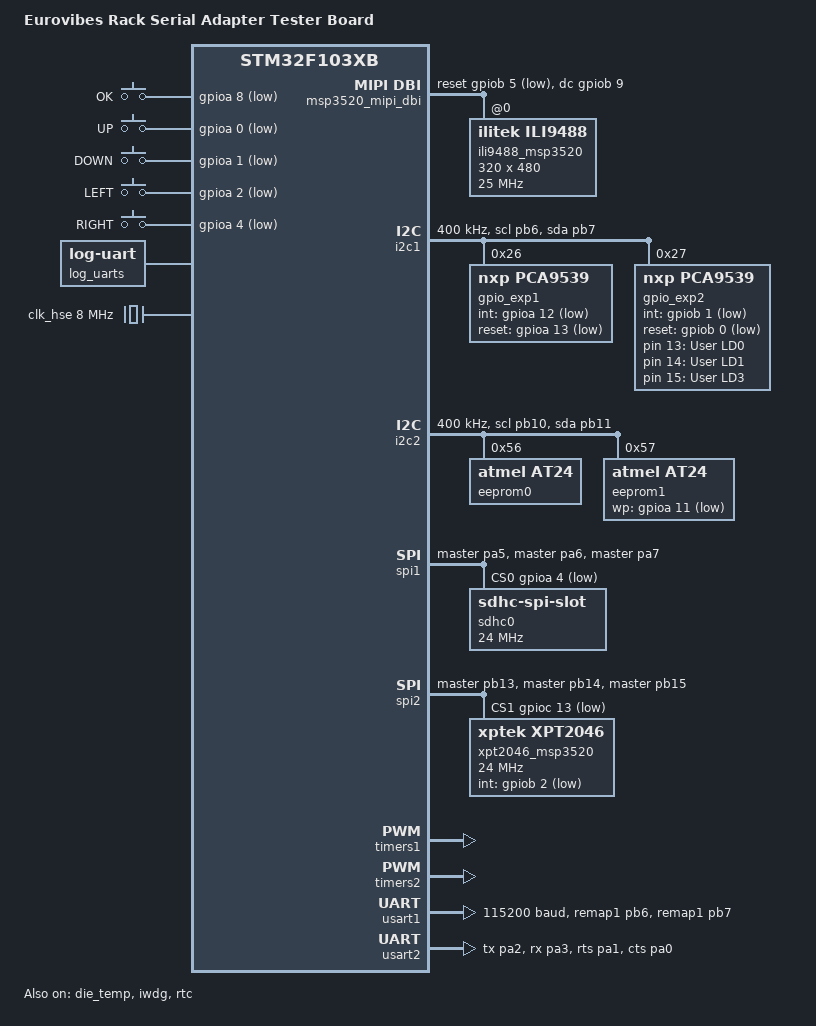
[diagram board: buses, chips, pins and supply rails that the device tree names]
/*
 * Copyright (c) 2026 Benedikt Spranger
 *
 * SPDX-License-Identifier: Apache-2.0
 */

/dts-v1/;
#include <st/f1/stm32f103Xb.dtsi>
#include <st/f1/stm32f103r(8-b)tx-pinctrl.dtsi>
#include <zephyr/dt-bindings/input/input-event-codes.h>
#include <zephyr/dt-bindings/display/panel.h>

/ {
	aliases {
		led0 = &user_led_0;
                led1 = &user_led_1;
		led2 = &user_led_2;
		sw0 = &ok_button;
		watchdog0 = &iwdg;
		die-temp0 = &die_temp;
	};

	model = "Eurovibes Rack Serial Adapter Tester Board";
	compatible = "eurovibes,rack-ser-adapter-tester";

	chosen {
		zephyr,console = &usart1;
		zephyr,log-uart = &log_uarts;
		zephyr,shell-uart = &usart1;
		zephyr,sram = &sram0;
		zephyr,flash = &flash0;
		zephyr,code-partition = &slot0_partition;
		zephyr,display = &ili9488_msp3520;
                zephyr,touch = &xpt2046_msp3520;
	};

	gpio_keys {
		compatible = "gpio-keys";

		ok_button: button0 {
			label = "OK";
			gpios = <&gpioa 8 GPIO_ACTIVE_LOW>;
			zephyr,code = <INPUT_KEY_0>;
		};

		up_button: button1 {
			label = "UP";
			gpios = <&gpioa 0 GPIO_ACTIVE_LOW>;
			zephyr,code = <INPUT_KEY_1>;
		};

		down_button: button2 {
			label = "DOWN";
			gpios = <&gpioa 1 GPIO_ACTIVE_LOW>;
			zephyr,code = <INPUT_KEY_2>;
		};

		left_button: button3 {
			label = "LEFT";
			gpios = <&gpioa 2 GPIO_ACTIVE_LOW>;
			zephyr,code = <INPUT_KEY_3>;
		};

		right_button: button4 {
			label = "RIGHT";
			gpios = <&gpioa 4 GPIO_ACTIVE_LOW>;
			zephyr,code = <INPUT_KEY_4>;
		};
	};

	leds: leds {
                compatible = "gpio-leds";

                user_led_0: led_0 {
                        gpios = <&gpio_exp2 13 GPIO_ACTIVE_HIGH>;
                        label = "User LD0";
                };

                user_led_1: led_1 {
                        gpios = <&gpio_exp2 14 GPIO_ACTIVE_HIGH>;
                        label = "User LD1";
                };

		user_led_2: led_2 {
                        gpios = <&gpio_exp2 15 GPIO_ACTIVE_HIGH>;
                        label = "User LD3";
                };
        };

	msp3520_mipi_dbi {
		compatible = "zephyr,mipi-dbi-spi";
                dc-gpios = <&gpiob 9 GPIO_ACTIVE_HIGH>;
                reset-gpios = <&gpiob 5 GPIO_ACTIVE_LOW>;
                spi-dev = <&spi2>;
                write-only;
                #address-cells = <1>;
                #size-cells = <0>;

		ili9488_msp3520: ili9488@0 {
			compatible = "ilitek,ili9488";
			mipi-max-frequency = <25000000>;
			reg = <0>;
			pixel-format = <PANEL_PIXEL_FORMAT_RGB_888>;
			width = <320>;
			height = <480>;
			rotation = <0>;
		};
	};

	log_uarts: log_uarts {
		compatible = "zephyr,log-uart";
		uarts = <&usart1>;
	};
};

&clk_hse {
	clock-frequency = <DT_FREQ_M(8)>;
	status = "okay";
};

&clk_lsi {
	status = "okay";
};

&die_temp {
	status = "okay";
};

&flash0 {
	partitions {
		#address-cells = <1>;
		#size-cells = <1>;
		ranges;

		boot_partition: partition@0 {
			compatible = "zephyr,mapped-partition";
			label = "mcuboot";
			reg = <0x00000000 DT_SIZE_K(34)>;
		};

		slot0_partition: partition@8800 {
			compatible = "zephyr,mapped-partition";
			label = "image-0";
			reg = <0x00008800 DT_SIZE_K(45)>;
		};

		slot1_partition: partition@13c00 {
			compatible = "zephyr,mapped-partition";
			label = "image-1";
			reg = <0x00013c00 DT_SIZE_K(46)>;
		};

		storage_partition: partition@1f400 {
			compatible = "zephyr,mapped-partition";
			label = "storage";
			reg = <0x0001f400 DT_SIZE_K(3)>;
		};
	};
};

&i2c1 {
	pinctrl-0 = <&i2c1_scl_pb6 &i2c1_sda_pb7>;
	pinctrl-names = "default";
	status = "okay";
	clock-frequency = <I2C_BITRATE_FAST>;

	gpio_exp1: pca9539@26 {
		compatible = "nxp,pca9539";
		reg = <0x26>;
		int-gpios = <&gpioa 12 GPIO_ACTIVE_LOW>;
		reset-gpios = <&gpioa 13 GPIO_ACTIVE_LOW>;
		gpio-controller;
		#gpio-cells = <2>;
		ngpios = <16>;
	};

	gpio_exp2: pca9539@27 {
		compatible = "nxp,pca9539";
		reg = <0x27>;
		int-gpios = <&gpiob 1 GPIO_ACTIVE_LOW>;
		reset-gpios = <&gpiob 0 GPIO_ACTIVE_LOW>;
		gpio-controller;
		#gpio-cells = <2>;
		ngpios = <16>;
	};
};

&i2c2 {
	pinctrl-0 = <&i2c2_scl_pb10 &i2c2_sda_pb11>;
	pinctrl-names = "default";
	status = "okay";
	clock-frequency = <I2C_BITRATE_FAST>;

	eeprom0: eeprom@56 {
		compatible = "atmel,at24";
		reg = <0x56>;
		status = "okay";
		size = <DT_SIZE_K(512)>;
		pagesize = <128>;
		address-width = <16>;
		timeout = <5>;
	};

	eeprom1: eeprom@57 {
		compatible = "atmel,at24";
		reg = <0x57>;
		status = "okay";
		size = <DT_SIZE_K(512)>;
		pagesize = <128>;
		address-width = <16>;
		timeout = <5>;
		wp-gpios = <&gpioa 11 GPIO_ACTIVE_LOW>;
	};
};

&iwdg {
	status = "okay";
};

&pll {
	mul = <9>;
	clocks = <&clk_hse>;
	status = "okay";
};

&rcc {
	clocks = <&pll>;
	clock-frequency = <DT_FREQ_M(72)>;
	ahb-prescaler = <1>;
	apb1-prescaler = <2>;
	apb2-prescaler = <1>;
	/* usbpre not set: USB clock = 72 / 1.5: 48MHz */
};

&rtc {
	clocks = <&rcc STM32_CLOCK(APB1, 28)>,
		 <&rcc STM32_SRC_LSI RTC_SEL(2)>;
	status = "okay";
};

&spi1 {
	pinctrl-0 = <&spi1_sck_master_pa5 &spi1_miso_master_pa6 &spi1_mosi_master_pa7>;
	pinctrl-names = "default";
	status = "okay";
	cs-gpios = <&gpioa 4 GPIO_ACTIVE_LOW>;

	sdhc0: sdhc@0 {
                compatible = "zephyr,sdhc-spi-slot";
                reg = <0>;
                spi-max-frequency = <DT_FREQ_M(24)>;
                status = "okay";

                sdmmc {
                        compatible = "zephyr,sdmmc-disk";
                        disk-name = "SD";
                        status = "okay";
                };
	};
};

&spi2 {
	pinctrl-0 = <&spi2_sck_master_pb13 &spi2_miso_master_pb14 &spi2_mosi_master_pb15>;
	pinctrl-names = "default";
	cs-gpios = <&gpiob  4 (GPIO_ACTIVE_LOW | GPIO_PULL_UP)>,
		   <&gpioc 13 (GPIO_ACTIVE_LOW | GPIO_PULL_UP)>; 
	status = "okay";

	xpt2046_msp3520: xpt2046@1 {
		compatible = "xptek,xpt2046";
		status = "okay";
		reg = <1>;
		spi-max-frequency = <DT_FREQ_M(24)>;
		int-gpios = <&gpiob 2 (GPIO_ACTIVE_LOW | GPIO_PULL_UP)>;
		touchscreen-size-x = <480>;
		touchscreen-size-y = <320>;
		min-x = <0>;
		min-y = <0>;
		max-x = <1000>;
		max-y = <1000>;
	};
};

&timers1 {
	st,prescaler = <10000>;
	status = "okay";

	pwm1: pwm {
		status = "okay";
		pinctrl-0 = <&tim1_ch1_pwm_out_pa8>;
		pinctrl-names = "default";
	};
};

&timers2 {
	st,prescaler = <255>;
	status = "okay";

	pwm2: pwm {
		status = "okay";
		pinctrl-0 = <&tim2_ch1_pwm_out_pa0>;
		pinctrl-names = "default";
	};
};

&usart1 {
	pinctrl-0 = <&usart1_tx_remap1_pb6 &usart1_rx_remap1_pb7>;
	pinctrl-names = "default";
	current-speed = <115200>;
	status = "okay";
};

&usart2 {
	pinctrl-0 = <&usart2_tx_pa2 &usart2_rx_pa3 &usart2_rts_pa1 &usart2_cts_pa0>;
	pinctrl-names = "default";
};
